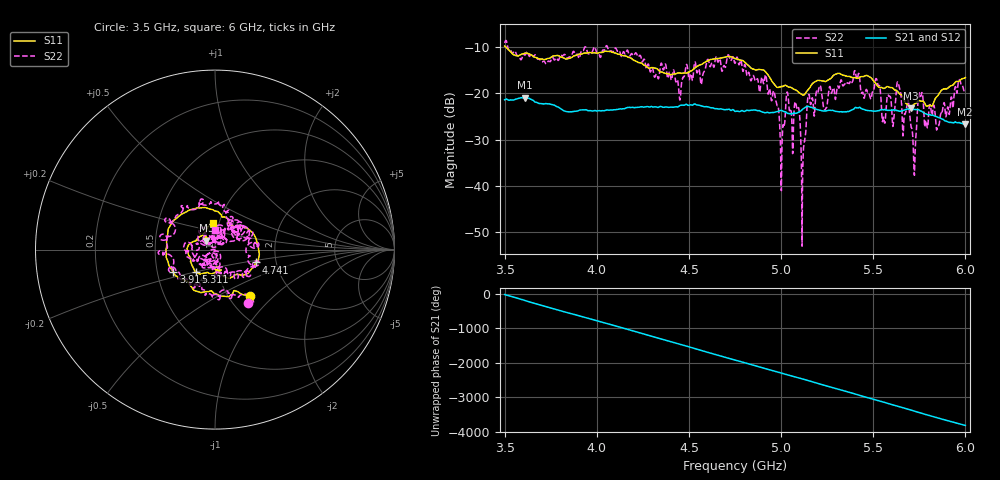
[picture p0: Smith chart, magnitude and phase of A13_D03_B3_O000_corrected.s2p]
! Created with skrf 1.9.0 (http://scikit-rf.org).
# Hz S RI R 50.0
!freq ReS11 ImS11 ReS21 ImS21 ReS12 ImS12 ReS22 ImS22
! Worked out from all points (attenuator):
!   1601 points, 3.5 GHz to 6 GHz, reference 50 ohm
!   highest |S21| = -20.94 dB at 3.611 GHz (marker M1); lowest = -26.7 dB at 5.995 GHz (marker M2)
!   lowest |S11| = -23.2 dB at 5.703 GHz (marker M3), VSWR 1.15, Z = 45.2 + j4.52 ohm
!   |S11| at or under -10 dB: 3.506 GHz to end of sweep
!   |S22| runs from -53.0 to -8.6 dB; largest |S21 - S12| = 0.001
!   S11 on the Smith chart (normalised r, x): 3.5 GHz: 1.26, -0.72; 3.914 GHz: 0.61, -0.16; 4.741 GHz: 1.58, -0.24; 5.311 GHz: 0.78, -0.20; 6 GHz: 0.94, +0.28
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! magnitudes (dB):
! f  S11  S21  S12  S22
! 3.5 GHz  -9.8  -21.4  -21.4  -9.2
! 3.611 GHz  -11.3  -20.9  -21.0  -11.8
! 3.914 GHz  -11.6  -23.6  -23.6  -11.1
! 3.917 GHz  -11.6  -23.6  -23.6  -10.8
! 4.334 GHz  -15.0  -23.0  -23.0  -16.9
! 4.741 GHz  -12.3  -23.6  -23.6  -12.2
! 4.75 GHz  -12.5  -23.9  -23.8  -13.6
! 4.966 GHz  -18.2  -24.1  -24.1  -20.3
! 5.005 GHz  -18.5  -23.7  -23.7  -31.7
! 5.033 GHz  -18.5  -24.3  -24.2  -19.7
! 5.086 GHz  -19.4  -24.3  -24.2  -23.2
! 5.119 GHz  -20.4  -23.4  -23.3  -34.6
! 5.145 GHz  -19.3  -22.8  -22.8  -20.9
! 5.167 GHz  -18.0  -23.1  -23.0  -21.1
! 5.311 GHz  -15.7  -24.0  -23.9  -18.8
! 5.584 GHz  -18.7  -23.7  -23.7  -20.5
! 5.703 GHz  -23.2  -23.5  -23.5  -26.6
! 5.722 GHz  -22.3  -23.5  -23.4  -37.3
! 5.756 GHz  -21.7  -23.8  -23.8  -20.7
! 5.85 GHz  -20.5  -25.2  -25.1  -27.0
! 5.995 GHz  -16.7  -26.7  -26.6  -19.5
! 6 GHz  -16.6  -26.6  -26.6  -19.3
